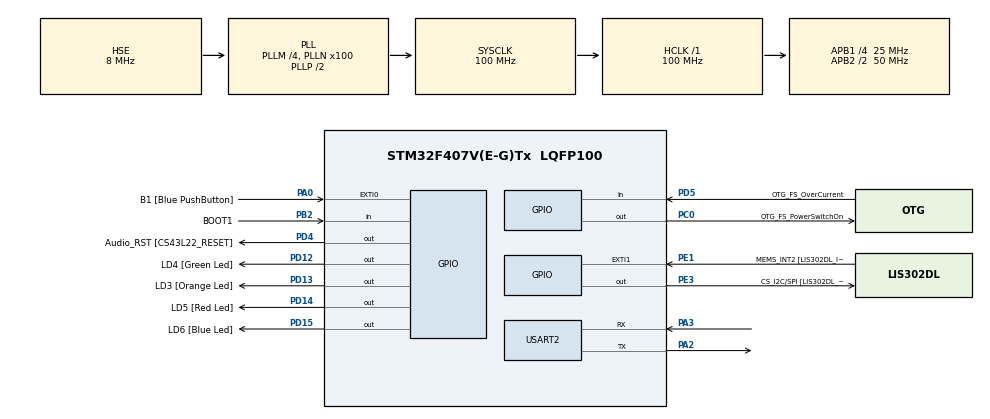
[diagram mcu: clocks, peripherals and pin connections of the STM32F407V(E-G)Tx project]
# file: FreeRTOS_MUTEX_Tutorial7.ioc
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Mcu.Family=STM32F4
PA11.GPIO_Speed=GPIO_SPEED_FREQ_LOW
PC3.GPIO_Mode=GPIO_MODE_AF_PP
PD12.GPIO_Label=LD4 [Green Led]
PH0-OSC_IN.Signal=RCC_OSC_IN
RCC.CortexFreq_Value=100000000
PC10.GPIO_PuPd=GPIO_NOPULL
PB10.GPIO_Speed=GPIO_SPEED_FREQ_LOW
PB6.GPIO_Mode=GPIO_MODE_AF_OD
PB10.GPIO_PuPd=GPIO_NOPULL
PA10.GPIO_PuPd=GPIO_NOPULL
PD15.GPIO_Speed=GPIO_SPEED_FREQ_LOW
PC10.Signal=I2S3_CK
PC12.Signal=I2S3_SD
PA14.GPIO_Label=SWCLK
PA7.GPIO_Mode=GPIO_MODE_AF_PP
PC0.GPIO_Label=OTG_FS_PowerSwitchOn
PA6.GPIO_Label=SPI1_MISO [LIS302DL_SDO]
PB6.GPIO_Label=Audio_SCL [CS43L22_SCL]
PC10.GPIO_Speed=GPIO_SPEED_FREQ_LOW
PA11.GPIO_PuPd=GPIO_NOPULL
PC15-OSC32_OUT.GPIO_Label=PC15-OSC32_OUT
PC3.GPIO_Speed=GPIO_SPEED_FREQ_LOW
RCC.SYSCLKSource=RCC_SYSCLKSOURCE_PLLCLK
ProjectManager.StackSize=0x400
PA6.GPIO_Mode=GPIO_MODE_AF_PP
PD13.Signal=GPIO_Output
PD14.GPIO_Speed=GPIO_SPEED_FREQ_LOW
PA12.Signal=USB_OTG_FS_DP
RCC.HCLKFreq_Value=100000000
PD4.Signal=GPIO_Output
RCC.APB2TimFreq_Value=100000000
PB6.Signal=I2C1_SCL
PC7.Signal=I2S3_MCK
PC3.Signal=I2S2_SD
PE1.Signal=GPXTI1
RCC.AHBFreq_Value=100000000
PH0-OSC_IN.Mode=HSE-External-Oscillator
PH0-OSC_IN.GPIO_Label=PH0-OSC_IN
PA9.GPIO_Mode=GPIO_MODE_INPUT
RCC.HSE_VALUE=8000000
PA4.GPIO_PuPd=GPIO_NOPULL
PB2.Signal=GPIO_Input
PA4.GPIO_Speed=GPIO_SPEED_FREQ_LOW
PA6.GPIO_PuPd=GPIO_NOPULL
VP_SYS_VS_tim1.Mode=TIM1
PA5.GPIO_PuPd=GPIO_NOPULL
PA10.GPIO_Label=OTG_FS_ID
PC7.GPIO_Mode=GPIO_MODE_AF_PP
PD5.GPIO_Mode=GPIO_MODE_INPUT
PD14.GPIO_PuPd=GPIO_NOPULL
VP_FREERTOS_VS_CMSIS_V1.Mode=CMSIS_V1
PB2.GPIO_PuPd=GPIO_NOPULL
PH1-OSC_OUT.Mode=HSE-External-Oscillator
PD13.GPIO_Label=LD3 [Orange Led]
Mcu.Package=LQFP100
PB9.Signal=I2C1_SDA
PA6.Signal=SPI1_MISO
NVIC.TimeBase=TIM1_UP_TIM10_IRQn
USART2.VirtualMode=VM_ASYNC
PD12.Signal=GPIO_Output
PD5.GPIO_Label=OTG_FS_OverCurrent
PD15.GPIO_PuPd=GPIO_NOPULL
NVIC.TimeBaseIP=TIM1
PA10.Signal=USB_OTG_FS_ID
PB9.GPIO_PuPd=GPIO_NOPULL
PA10.GPIO_Speed=GPIO_SPEED_FREQ_LOW
RCC.APB2CLKDivider=RCC_HCLK_DIV2
PB9.GPIO_Speed=GPIO_SPEED_FREQ_LOW
RCC.APB1TimFreq_Value=50000000
PC14-OSC32_IN.GPIO_Label=PC14-OSC32_IN
PC12.GPIO_PuPd=GPIO_NOPULL
PA6.GPIO_Speed=GPIO_SPEED_FREQ_LOW
PC0.GPIO_PuPd=GPIO_NOPULL
PA12.GPIO_PuPd=GPIO_NOPULL
PA4.GPIO_Label=I2S3_WS [CS43L22_LRCK]
PD15.Signal=GPIO_Output
PC0.PinState=GPIO_PIN_SET
PA12.GPIO_Speed=GPIO_SPEED_FREQ_LOW
PA3.Signal=USART2_RX
PB3.GPIO_Label=SWO
RCC.PLLSourceVirtual=RCC_PLLSOURCE_HSE
PD12.GPIO_Speed=GPIO_SPEED_FREQ_LOW
FREERTOS.Tasks01=defaultTask,0,128,StartDefaultTask,Default,NULL,Dynamic,NULL,NULL
PD15.GPIO_Label=LD6 [Blue Led]
PB9.GPIO_Label=Audio_SDA [CS43L22_SDA]
PC10.GPIO_Label=I2S3_SCK [CS43L22_SCLK]
PA9.GPIO_Label=VBUS_FS
PB6.GPIO_PuPd=GPIO_NOPULL
PA11.GPIO_Label=OTG_FS_DM
PE1.GPIO_PuPd=GPIO_NOPULL
PD5.Signal=GPIO_Input
PC0.Signal=GPIO_Output
PE1.GPIO_ModeDefaultEXTI=GPIO_MODE_EVT_RISING
RCC.APB1CLKDivider=RCC_HCLK_DIV4
PC14-OSC32_IN.Signal=RCC_OSC32_IN
PA9.GPIO_PuPd=GPIO_NOPULL
PA12.GPIO_Label=OTG_FS_DP
PA0-WKUP.GPIO_Label=B1 [Blue PushButton]
PA0-WKUP.Signal=GPXTI0
PA10.GPIO_Mode=GPIO_MODE_AF_PP
PA3.Mode=Asynchronous
PA13.Signal=SYS_JTMS-SWDIO
PC10.GPIO_Mode=GPIO_MODE_AF_PP
PD4.GPIO_PuPd=GPIO_NOPULL
PC0.GPIO_Speed=GPIO_SPEED_FREQ_LOW
PB10.GPIO_Mode=GPIO_MODE_AF_PP
ProjectManager.TargetToolchain=STM32CubeIDE
PB10.GPIO_Label=CLK_IN [MP45DT02_CLK]
PA9.Signal=USB_OTG_FS_VBUS
PC7.GPIO_PuPd=GPIO_NOPULL
RCC.LSE_VALUE=32768
PC15-OSC32_OUT.Signal=RCC_OSC32_OUT
PA7.GPIO_PuPd=GPIO_NOPULL
PB10.Signal=I2S2_CK
PA5.Signal=SPI1_SCK
board=STM32F407G-DISC1
PD13.GPIO_Speed=GPIO_SPEED_FREQ_LOW
PC7.GPIO_Speed=GPIO_SPEED_FREQ_LOW
RCC.VCOOutputFreq_Value=200000000
PE1.GPIO_Label=MEMS_INT2 [LIS302DL_INT2]
PA7.GPIO_Speed=GPIO_SPEED_FREQ_LOW
PB9.GPIO_Mode=GPIO_MODE_AF_OD
PA12.GPIO_Mode=GPIO_MODE_AF_PP
PA4.GPIO_Mode=GPIO_MODE_AF_PP
RCC.APB2Freq_Value=50000000
PB2.GPIO_Mode=GPIO_MODE_INPUT
PD4.GPIO_Label=Audio_RST [CS43L22_RESET]
PD4.GPIO_Speed=GPIO_SPEED_FREQ_LOW
PE3.GPIO_PuPd=GPIO_NOPULL
PH1-OSC_OUT.Signal=RCC_OSC_OUT
PD13.GPIO_PuPd=GPIO_NOPULL
PD5.GPIO_PuPd=GPIO_NOPULL
PD14.GPIO_Label=LD5 [Red Led]
PH1-OSC_OUT.GPIO_Label=PH1-OSC_OUT
Mcu.Name=STM32F407V(E-G)Tx
PA2.Signal=USART2_TX
PA13.GPIO_Label=SWDIO
PC7.GPIO_Label=I2S3_MCK [CS43L22_MCLK]
PD14.Signal=GPIO_Output
RCC.48MHZClocksFreq_Value=28571428.57142857
PB3.Signal=SYS_JTDO-SWO
PA4.Signal=I2S3_WS
RCC.SYSCLKFreq_VALUE=100000000
PC12.GPIO_Mode=GPIO_MODE_AF_PP
PA7.GPIO_Label=SPI1_MOSI [LIS302DL_SDA/SDI/SDO]
PA5.GPIO_Label=SPI1_SCK [LIS302DL_SCL/SPC]
PE3.GPIO_Speed=GPIO_SPEED_FREQ_LOW
PC12.GPIO_Label=I2S3_SD [CS43L22_SDIN]
PA11.Signal=USB_OTG_FS_DM
PA14.Signal=SYS_JTCK-SWCLK
PB2.GPIO_Label=BOOT1
ProjectManager.HeapSize=0x200
NVIC.TIM1_UP_TIM10_IRQn=true\:0\:0\:false\:false\:true\:false\:false\:true
RCC.HSI_VALUE=16000000
PA5.GPIO_Speed=GPIO_SPEED_FREQ_LOW
RCC.PLLQ=7
NVIC.PriorityGroup=NVIC_PRIORITYGROUP_4
RCC.PLLM=4
RCC.PLLN=100
PE3.Signal=GPIO_Output
PA2.Mode=Asynchronous
PE3.GPIO_Label=CS_I2C/SPI [LIS302DL_CS_I2C/SPI]
PC3.GPIO_Label=PDM_OUT [MP45DT02_DOUT]
PA11.GPIO_Mode=GPIO_MODE_AF_PP
PB6.GPIO_Speed=GPIO_SPEED_FREQ_LOW
RCC.APB1Freq_Value=25000000
PA5.GPIO_Mode=GPIO_MODE_AF_PP
PC12.GPIO_Speed=GPIO_SPEED_FREQ_LOW
PC3.GPIO_PuPd=GPIO_NOPULL
PD12.GPIO_PuPd=GPIO_NOPULL
PA7.Signal=SPI1_MOSI

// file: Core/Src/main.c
/* USER CODE BEGIN Header */
/**
  ******************************************************************************
  * @file           : main.c
  * @brief          : Main program body
  ******************************************************************************
  * @attention
  *
  * <h2><center>&copy; Copyright (c) 2022 STMicroelectronics.
  * All rights reserved.</center></h2>
  *
  * This software component is licensed by ST under BSD 3-Clause license,
  * the "License"; You may not use this file except in compliance with the
  * License. You may obtain a copy of the License at:
  *                        opensource.org/licenses/BSD-3-Clause
  *
  ******************************************************************************
  */
/* USER CODE END Header */
#include "main.h"

/* USER CODE BEGIN Includes */

#include "FreeRTOS.h"
#include "task.h"
//#include "timers.h"
#include "queue.h"
#include "semphr.h"
//#include "event_groups.h"

#include "string.h"
/* USER CODE END Includes */

UART_HandleTypeDef huart2;

//osThreadId defaultTaskHandle;

void SystemClock_Config(void);
static void MX_GPIO_Init(void);
static void MX_USART2_UART_Init(void);

/* USER CODE BEGIN 0 */

SemaphoreHandle_t	SimpleMutex;

TaskHandle_t		HPT_Handler;
TaskHandle_t		MPT_Handler;
TaskHandle_t		LPT_Handler;

void HPT_Task (void *argument);
void MPT_Task (void *argument);
void LPT_Task (void *argument);

void Send_UART(uint8_t *str)
{
	xSemaphoreTake(SimpleMutex, portMAX_DELAY);
	HAL_Delay(2000);

	HAL_UART_Transmit(&huart2, str, strlen(str), HAL_MAX_DELAY);

	xSemaphoreGive(SimpleMutex);
}

/* USER CODE END 0 */

int main(void)
{

  /* MCU Configuration--------------------------------------------------------*/

  /* Reset of all peripherals, Initializes the Flash interface and the Systick. */
  HAL_Init();

  /* Configure the system clock */
  SystemClock_Config();

  /* Initialize all configured peripherals */
  MX_GPIO_Init();
  MX_USART2_UART_Init();
  /* USER CODE BEGIN 2 */

  SimpleMutex = xSemaphoreCreateMutex();

  char creation[] = "Mutex is created\n\n";

  if(SimpleMutex != NULL)
  {
	  HAL_UART_Transmit(&huart2, (uint8_t*)creation,strlen(creation), 1000);
  }

  /* USER CODE END 2 */

  xTaskCreate(HPT_Task, "HPT", 128, NULL, 3, &HPT_Handler);
  xTaskCreate(MPT_Task, "MPT", 128, NULL, 2, &MPT_Handler);
  //xTaskCreate(LPT_Task, "LPT", 128, NULL, 1, &LPT_Handler);

  vTaskStartScheduler();

  /* We should never get here as control is now taken by the scheduler */
  /* Infinite loop */
  while (1)
  {

  }
}

void SystemClock_Config(void)
{
  RCC_OscInitTypeDef RCC_OscInitStruct = {0};
  RCC_ClkInitTypeDef RCC_ClkInitStruct = {0};

  /** Configure the main internal regulator output voltage
  */
  __HAL_RCC_PWR_CLK_ENABLE();
  __HAL_PWR_VOLTAGESCALING_CONFIG(PWR_REGULATOR_VOLTAGE_SCALE1);
  /** Initializes the RCC Oscillators according to the specified parameters
  * in the RCC_OscInitTypeDef structure.
  */
  RCC_OscInitStruct.OscillatorType = RCC_OSCILLATORTYPE_HSE;
  RCC_OscInitStruct.HSEState = RCC_HSE_ON;
  RCC_OscInitStruct.PLL.PLLState = RCC_PLL_ON;
  RCC_OscInitStruct.PLL.PLLSource = RCC_PLLSOURCE_HSE;
  RCC_OscInitStruct.PLL.PLLM = 4;
  RCC_OscInitStruct.PLL.PLLN = 100;
  RCC_OscInitStruct.PLL.PLLP = RCC_PLLP_DIV2;
  RCC_OscInitStruct.PLL.PLLQ = 7;
  if (HAL_RCC_OscConfig(&RCC_OscInitStruct) != HAL_OK)
  {
    Error_Handler();
  }
  /** Initializes the CPU, AHB and APB buses clocks
  */
  RCC_ClkInitStruct.ClockType = RCC_CLOCKTYPE_HCLK|RCC_CLOCKTYPE_SYSCLK
                              |RCC_CLOCKTYPE_PCLK1|RCC_CLOCKTYPE_PCLK2;
  RCC_ClkInitStruct.SYSCLKSource = RCC_SYSCLKSOURCE_PLLCLK;
  RCC_ClkInitStruct.AHBCLKDivider = RCC_SYSCLK_DIV1;
  RCC_ClkInitStruct.APB1CLKDivider = RCC_HCLK_DIV4;
  RCC_ClkInitStruct.APB2CLKDivider = RCC_HCLK_DIV2;

  if (HAL_RCC_ClockConfig(&RCC_ClkInitStruct, FLASH_LATENCY_3) != HAL_OK)
  {
    Error_Handler();
  }
}

static void MX_USART2_UART_Init(void)
{

  huart2.Instance = USART2;
  huart2.Init.BaudRate = 115200;
  huart2.Init.WordLength = UART_WORDLENGTH_8B;
  huart2.Init.StopBits = UART_STOPBITS_1;
  huart2.Init.Parity = UART_PARITY_NONE;
  huart2.Init.Mode = UART_MODE_TX_RX;
  huart2.Init.HwFlowCtl = UART_HWCONTROL_NONE;
  huart2.Init.OverSampling = UART_OVERSAMPLING_16;
  if (HAL_UART_Init(&huart2) != HAL_OK)
  {
    Error_Handler();
  }

}

static void MX_GPIO_Init(void)
{
  GPIO_InitTypeDef GPIO_InitStruct = {0};

  /* GPIO Ports Clock Enable */
  __HAL_RCC_GPIOE_CLK_ENABLE();
  __HAL_RCC_GPIOC_CLK_ENABLE();
  __HAL_RCC_GPIOH_CLK_ENABLE();
  __HAL_RCC_GPIOA_CLK_ENABLE();
  __HAL_RCC_GPIOB_CLK_ENABLE();
  __HAL_RCC_GPIOD_CLK_ENABLE();

  /*Configure GPIO pin Output Level */
  HAL_GPIO_WritePin(CS_I2C_SPI_GPIO_Port, CS_I2C_SPI_Pin, GPIO_PIN_RESET);

  /*Configure GPIO pin Output Level */
  HAL_GPIO_WritePin(OTG_FS_PowerSwitchOn_GPIO_Port, OTG_FS_PowerSwitchOn_Pin, GPIO_PIN_SET);

  /*Configure GPIO pin Output Level */
  HAL_GPIO_WritePin(GPIOD, LD4_Pin|LD3_Pin|LD5_Pin|LD6_Pin
                          |Audio_RST_Pin, GPIO_PIN_RESET);

  /*Configure GPIO pin : CS_I2C_SPI_Pin */
  GPIO_InitStruct.Pin = CS_I2C_SPI_Pin;
  GPIO_InitStruct.Mode = GPIO_MODE_OUTPUT_PP;
  GPIO_InitStruct.Pull = GPIO_NOPULL;
  GPIO_InitStruct.Speed = GPIO_SPEED_FREQ_LOW;
  HAL_GPIO_Init(CS_I2C_SPI_GPIO_Port, &GPIO_InitStruct);

  /*Configure GPIO pin : OTG_FS_PowerSwitchOn_Pin */
  GPIO_InitStruct.Pin = OTG_FS_PowerSwitchOn_Pin;
  GPIO_InitStruct.Mode = GPIO_MODE_OUTPUT_PP;
  GPIO_InitStruct.Pull = GPIO_NOPULL;
  GPIO_InitStruct.Speed = GPIO_SPEED_FREQ_LOW;
  HAL_GPIO_Init(OTG_FS_PowerSwitchOn_GPIO_Port, &GPIO_InitStruct);

  /*Configure GPIO pin : PDM_OUT_Pin */
  GPIO_InitStruct.Pin = PDM_OUT_Pin;
  GPIO_InitStruct.Mode = GPIO_MODE_AF_PP;
  GPIO_InitStruct.Pull = GPIO_NOPULL;
  GPIO_InitStruct.Speed = GPIO_SPEED_FREQ_LOW;
  GPIO_InitStruct.Alternate = GPIO_AF5_SPI2;
  HAL_GPIO_Init(PDM_OUT_GPIO_Port, &GPIO_InitStruct);

  /*Configure GPIO pin : B1_Pin */
  GPIO_InitStruct.Pin = B1_Pin;
  GPIO_InitStruct.Mode = GPIO_MODE_IT_RISING;
  GPIO_InitStruct.Pull = GPIO_NOPULL;
  HAL_GPIO_Init(B1_GPIO_Port, &GPIO_InitStruct);

  /*Configure GPIO pin : I2S3_WS_Pin */
  GPIO_InitStruct.Pin = I2S3_WS_Pin;
  GPIO_InitStruct.Mode = GPIO_MODE_AF_PP;
  GPIO_InitStruct.Pull = GPIO_NOPULL;
  GPIO_InitStruct.Speed = GPIO_SPEED_FREQ_LOW;
  GPIO_InitStruct.Alternate = GPIO_AF6_SPI3;
  HAL_GPIO_Init(I2S3_WS_GPIO_Port, &GPIO_InitStruct);

  /*Configure GPIO pins : SPI1_SCK_Pin SPI1_MISO_Pin SPI1_MOSI_Pin */
  GPIO_InitStruct.Pin = SPI1_SCK_Pin|SPI1_MISO_Pin|SPI1_MOSI_Pin;
  GPIO_InitStruct.Mode = GPIO_MODE_AF_PP;
  GPIO_InitStruct.Pull = GPIO_NOPULL;
  GPIO_InitStruct.Speed = GPIO_SPEED_FREQ_LOW;
  GPIO_InitStruct.Alternate = GPIO_AF5_SPI1;
  HAL_GPIO_Init(GPIOA, &GPIO_InitStruct);

  /*Configure GPIO pin : BOOT1_Pin */
  GPIO_InitStruct.Pin = BOOT1_Pin;
  GPIO_InitStruct.Mode = GPIO_MODE_INPUT;
  GPIO_InitStruct.Pull = GPIO_NOPULL;
  HAL_GPIO_Init(BOOT1_GPIO_Port, &GPIO_InitStruct);

  /*Configure GPIO pin : CLK_IN_Pin */
  GPIO_InitStruct.Pin = CLK_IN_Pin;
  GPIO_InitStruct.Mode = GPIO_MODE_AF_PP;
  GPIO_InitStruct.Pull = GPIO_NOPULL;
  GPIO_InitStruct.Speed = GPIO_SPEED_FREQ_LOW;
  GPIO_InitStruct.Alternate = GPIO_AF5_SPI2;
  HAL_GPIO_Init(CLK_IN_GPIO_Port, &GPIO_InitStruct);

  /*Configure GPIO pins : LD4_Pin LD3_Pin LD5_Pin LD6_Pin
                           Audio_RST_Pin */
  GPIO_InitStruct.Pin = LD4_Pin|LD3_Pin|LD5_Pin|LD6_Pin
                          |Audio_RST_Pin;
  GPIO_InitStruct.Mode = GPIO_MODE_OUTPUT_PP;
  GPIO_InitStruct.Pull = GPIO_NOPULL;
  GPIO_InitStruct.Speed = GPIO_SPEED_FREQ_LOW;
  HAL_GPIO_Init(GPIOD, &GPIO_InitStruct);

  /*Configure GPIO pins : I2S3_MCK_Pin I2S3_SCK_Pin I2S3_SD_Pin */
  GPIO_InitStruct.Pin = I2S3_MCK_Pin|I2S3_SCK_Pin|I2S3_SD_Pin;
  GPIO_InitStruct.Mode = GPIO_MODE_AF_PP;
  GPIO_InitStruct.Pull = GPIO_NOPULL;
  GPIO_InitStruct.Speed = GPIO_SPEED_FREQ_LOW;
  GPIO_InitStruct.Alternate = GPIO_AF6_SPI3;
  HAL_GPIO_Init(GPIOC, &GPIO_InitStruct);

  /*Configure GPIO pin : VBUS_FS_Pin */
  GPIO_InitStruct.Pin = VBUS_FS_Pin;
  GPIO_InitStruct.Mode = GPIO_MODE_INPUT;
  GPIO_InitStruct.Pull = GPIO_NOPULL;
  HAL_GPIO_Init(VBUS_FS_GPIO_Port, &GPIO_InitStruct);

  /*Configure GPIO pins : OTG_FS_ID_Pin OTG_FS_DM_Pin OTG_FS_DP_Pin */
  GPIO_InitStruct.Pin = OTG_FS_ID_Pin|OTG_FS_DM_Pin|OTG_FS_DP_Pin;
  GPIO_InitStruct.Mode = GPIO_MODE_AF_PP;
  GPIO_InitStruct.Pull = GPIO_NOPULL;
  GPIO_InitStruct.Speed = GPIO_SPEED_FREQ_LOW;
  GPIO_InitStruct.Alternate = GPIO_AF10_OTG_FS;
  HAL_GPIO_Init(GPIOA, &GPIO_InitStruct);

  /*Configure GPIO pin : OTG_FS_OverCurrent_Pin */
  GPIO_InitStruct.Pin = OTG_FS_OverCurrent_Pin;
  GPIO_InitStruct.Mode = GPIO_MODE_INPUT;
  GPIO_InitStruct.Pull = GPIO_NOPULL;
  HAL_GPIO_Init(OTG_FS_OverCurrent_GPIO_Port, &GPIO_InitStruct);

  /*Configure GPIO pins : Audio_SCL_Pin Audio_SDA_Pin */
  GPIO_InitStruct.Pin = Audio_SCL_Pin|Audio_SDA_Pin;
  GPIO_InitStruct.Mode = GPIO_MODE_AF_OD;
  GPIO_InitStruct.Pull = GPIO_PULLUP;
  GPIO_InitStruct.Speed = GPIO_SPEED_FREQ_LOW;
  GPIO_InitStruct.Alternate = GPIO_AF4_I2C1;
  HAL_GPIO_Init(GPIOB, &GPIO_InitStruct);

  /*Configure GPIO pin : MEMS_INT2_Pin */
  GPIO_InitStruct.Pin = MEMS_INT2_Pin;
  GPIO_InitStruct.Mode = GPIO_MODE_EVT_RISING;
  GPIO_InitStruct.Pull = GPIO_NOPULL;
  HAL_GPIO_Init(MEMS_INT2_GPIO_Port, &GPIO_InitStruct);

}

/* USER CODE BEGIN 4 */
void HPT_Task(void* argument)
{
	uint8_t *strtosend = "IN High Priority Task **********\n";
	while(1)
	{
		char *str = "Entered High Priority Task and about to take MUTEX\n";
		HAL_UART_Transmit(&huart2, str, strlen(str), HAL_MAX_DELAY);
		Send_UART(strtosend);

		char *str1 = "Leaving High Priority Task\n\n";
		HAL_UART_Transmit(&huart2, str1, strlen(str1), HAL_MAX_DELAY);

		vTaskDelay(1500);
	}
}

void MPT_Task(void* argument)
{
	uint8_t *strtosend = "IN Medium Priority Task ----------\n";
	while(1)
	{
		char *str = "Entered Medium Priority Task and about to take MUTEX\n";
		HAL_UART_Transmit(&huart2, str, strlen(str), HAL_MAX_DELAY);
		Send_UART(strtosend);

		char *str1 = "Leaving Medium Priority Task\n\n";
		HAL_UART_Transmit(&huart2, str1, strlen(str1), HAL_MAX_DELAY);

		vTaskDelay(2000);
	}
}

/*
void LPT_Task(void* argument)
{
	uint8_t *strtosend = "IN Low Priority Task **********\n";
	while(1)
	{
		char *str = "Entered Low Priority Task and about to take MUTEX\n";
		HAL_UART_Transmit(&huart2, (uint8_t*)str, strlen(str), HAL_MAX_DELAY);
		Send_UART(strtosend);

		char *str1 = "Leaving Low Priority Task\n\n";
		HAL_UART_Transmit(&huart2, (uint8_t*)str1, strlen(str1), HAL_MAX_DELAY);

		vTaskDelay(2500);
	}
}
*/

/* USER CODE END 4 */

/* USER CODE BEGIN Header_StartDefaultTask */

 /**
  * @brief  Period elapsed callback in non blocking mode
  * @note   This function is called  when TIM1 interrupt took place, inside
  * HAL_TIM_IRQHandler(). It makes a direct call to HAL_IncTick() to increment
  * a global variable "uwTick" used as application time base.
  * @param  htim : TIM handle
  * @retval None
  */
void HAL_TIM_PeriodElapsedCallback(TIM_HandleTypeDef *htim)
{
  if (htim->Instance == TIM1) {
    HAL_IncTick();
  }
}

void Error_Handler(void)
{
  __disable_irq();
  while (1)
  {
  }
}

/************************ (C) COPYRIGHT STMicroelectronics *****END OF FILE****/
